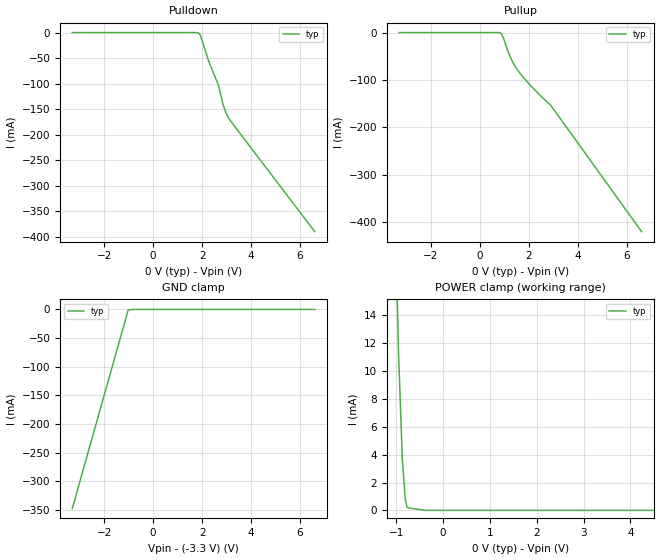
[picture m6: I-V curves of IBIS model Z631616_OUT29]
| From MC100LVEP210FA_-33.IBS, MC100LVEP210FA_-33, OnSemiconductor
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| (C) COPYRIGHT 1993-2000
| MENTOR GRAPHICS CORPORATION
| ICX STANDARD LIBRARY, ICX PROJECT MODELING,
| ICX CUSTOM MODELING, ICX VENDOR MODEL
| ALL RIGHTS RESERVED.
| THE FOLLOWING ARE TRADEMARKS OR SERVICE MARKS OF
| MENTOR GRAPHICS CORPORATION:ICX (R), ICX STANDARD
| LIBRARY(R), ICX PROJECT MODELING(R), ICX CUSTOM
| MODELING(R), qualityIBIS(TM), MODELVIEWER(TM),
| AND MODELEDITOR(TM)
| ALL COPIES OF SOFTWARE, INCLUDING BUT NOT LIMITED TO
| ANY MODIFICATIONS, ENHANCEMENTS OR DERIVATIVE WORKS,
| MUST CONTAIN ALL MENTOR GRAPHICS CORPORATION'S
| NOTICES AND LEGENDS, INCLUDING THOSE EMBEDDED IN
| SOFTWARE AND THOSE AFFIXED TO SOFTWARE MEDIUM
| AND CONTAINER, AS RECEIVED FROM MENTOR GRAPHICS
| CORPORATION.
| Model Application Version 1.89 2/18/99.
[Model] Z631616_OUT29
Model_type Output_ECL
Vref=-2.000V
Rref=50.00ohms
Cref=0.000F
Vmeas=-1.400V
C_comp 1.000pF NA NA
| variable typ   min   max
[Voltage Range] -3.300V NA NA
[POWER Clamp Reference] 0.000V NA NA
[Pullup Reference] 0.000V NA NA
[Pulldown Reference] 0.000V NA NA
[GND Clamp Reference] -3.300V NA NA
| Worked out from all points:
|   GND clamp passes 1 mA (typ) near -0.99 V on its own axis
|   POWER clamp passes 1 mA (typ) near -0.82 V on its own axis
[GND Clamp]
-3.3V     -347.5mA   NA         NA
-1.018V   -1.163mA   NA         NA
-848.3mV  0A         NA         NA
6.6V      0A         NA         NA
[Pulldown]
-3.3V     0A         NA         NA
1.763V    0A         NA         NA
1.885V    -2.1mA     NA         NA
1.926V    -5.5mA     NA         NA
1.987V    -13.5mA    NA         NA
2.27V     -56.2mA    NA         NA
2.635V    -99.3mA    NA         NA
2.716V    -112.6mA   NA         NA
2.858V    -141.7mA   NA         NA
2.98V     -157.5mA   NA         NA
3.101V    -169.3mA   NA         NA
6.6V      -389.9mA   NA         NA
[Pullup]
-3.3V     0A         NA         NA
750mV     0A         NA         NA
872mV     -2.3mA     NA         NA
953mV     -10.9mA    NA         NA
1.135V    -38.3mA    NA         NA
1.277V    -56.1mA    NA         NA
1.419V    -70.2mA    NA         NA
1.54V     -79.6mA    NA         NA
2.027V    -109.9mA   NA         NA
2.878V    -152.9mA   NA         NA
6.6V      -420.3mA   NA         NA
[POWER Clamp]
-3.3V     408.8mA    NA         NA
-1.095V   31.1mA     NA         NA
-953mV    11.2mA     NA         NA
-872mV    3.6mA      NA         NA
-811mV    800uA      NA         NA
-770mV    200uA      NA         NA
-385mV    0A         NA         NA
6.6V      0A         NA         NA
[Ramp]
| variable typ min max
dV/dt_r 525.0m/149.1p NA NA
dV/dt_f 525.0m/147.8p NA NA
R_load = 50.00Ohms
